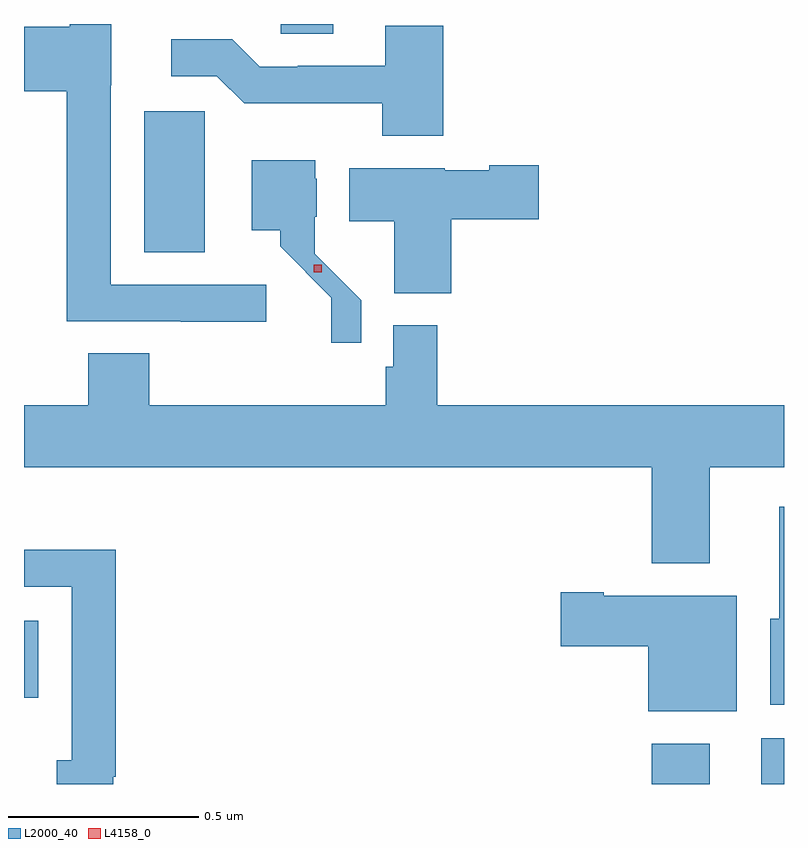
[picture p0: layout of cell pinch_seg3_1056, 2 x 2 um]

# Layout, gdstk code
import gdstk
lib = gdstk.Library(unit=1e-6, precision=1e-09)
def R(c, l, rs):  # rectangles x0, y0, x1, y1
    for r in rs: c.add(gdstk.rectangle(r[:2], r[2:], *l))
def P(c, l, *ps):  # polygons
    for p in ps: c.add(gdstk.Polygon(p, *l))
L2000_40 = (2000, 40)
L4158_0 = (4158, 0)

pinch_seg3_1056 = lib.new_cell('pinch_seg3_1056')
R(pinch_seg3_1056, L2000_40, [(514.793,674.775,514.945,674.881), (515.081,674.775,515.141,674.896), (513.141,675.002,513.178,675.205), (513.458,676.174,513.616,676.545), (513.816,676.75,513.955,676.775)])
P(pinch_seg3_1056, L2000_40, [(513.778,676.089),(513.369,676.089),(513.369,676.614),(513.37,676.614),(513.37,676.775),(513.261,676.775),(513.261,676.768),(513.141,676.768),(513.141,676.598),(513.253,676.598),(513.253,675.993),(513.553,675.993),(513.553,675.991),(513.778,675.991)],
  [(514.244,676.771),(514.091,676.771),(514.091,676.665),(513.862,676.665),(513.862,676.662),(513.762,676.662),(513.689,676.735),(513.528,676.735),(513.528,676.638),(513.648,676.638),(513.721,676.566),(514.084,676.566),(514.084,676.481),(514.244,676.481)],
  [(514.028,676.048),(513.906,676.17),(513.906,676.268),(513.912,676.268),(513.912,676.368),(513.907,676.368),(513.907,676.417),(513.74,676.417),(513.74,676.232),(513.815,676.232),(513.815,676.19),(513.95,676.054),(513.95,675.936),(514.028,675.936)],
  [(514.265,676.261),(514.495,676.261),(514.495,676.403),(514.365,676.403),(514.365,676.39),(514.248,676.39),(514.248,676.396),(513.997,676.396),(513.997,676.256),(514.115,676.256),(514.115,676.067),(514.265,676.067)],
  [(514.945,675.608),(515.141,675.608),(515.141,675.772),(514.229,675.772),(514.229,675.982),(514.113,675.982),(514.113,675.873),(514.093,675.873),(514.093,675.772),(513.47,675.772),(513.47,675.908),(513.31,675.908),(513.31,675.772),(513.141,675.772),(513.141,675.608),(514.793,675.608),(514.793,675.356),(514.945,675.356)],
  [(515.141,675.505),(515.129,675.505),(515.129,675.21),(515.105,675.21),(515.105,674.984),(515.141,674.984)],
  [(513.376,674.794),(513.383,674.794),(513.383,675.392),(513.141,675.392),(513.141,675.294),(513.267,675.294),(513.267,674.838),(513.227,674.838),(513.227,674.775),(513.376,674.775)],
  [(515.017,675.271),(514.666,675.271),(514.666,675.279),(514.554,675.279),(514.554,675.137),(514.784,675.137),(514.784,674.966),(515.017,674.966)])
R(pinch_seg3_1056, L4158_0, [(513.904,676.122,513.924,676.142)])

lib.write_gds('pinch_seg3_1056.gds')
